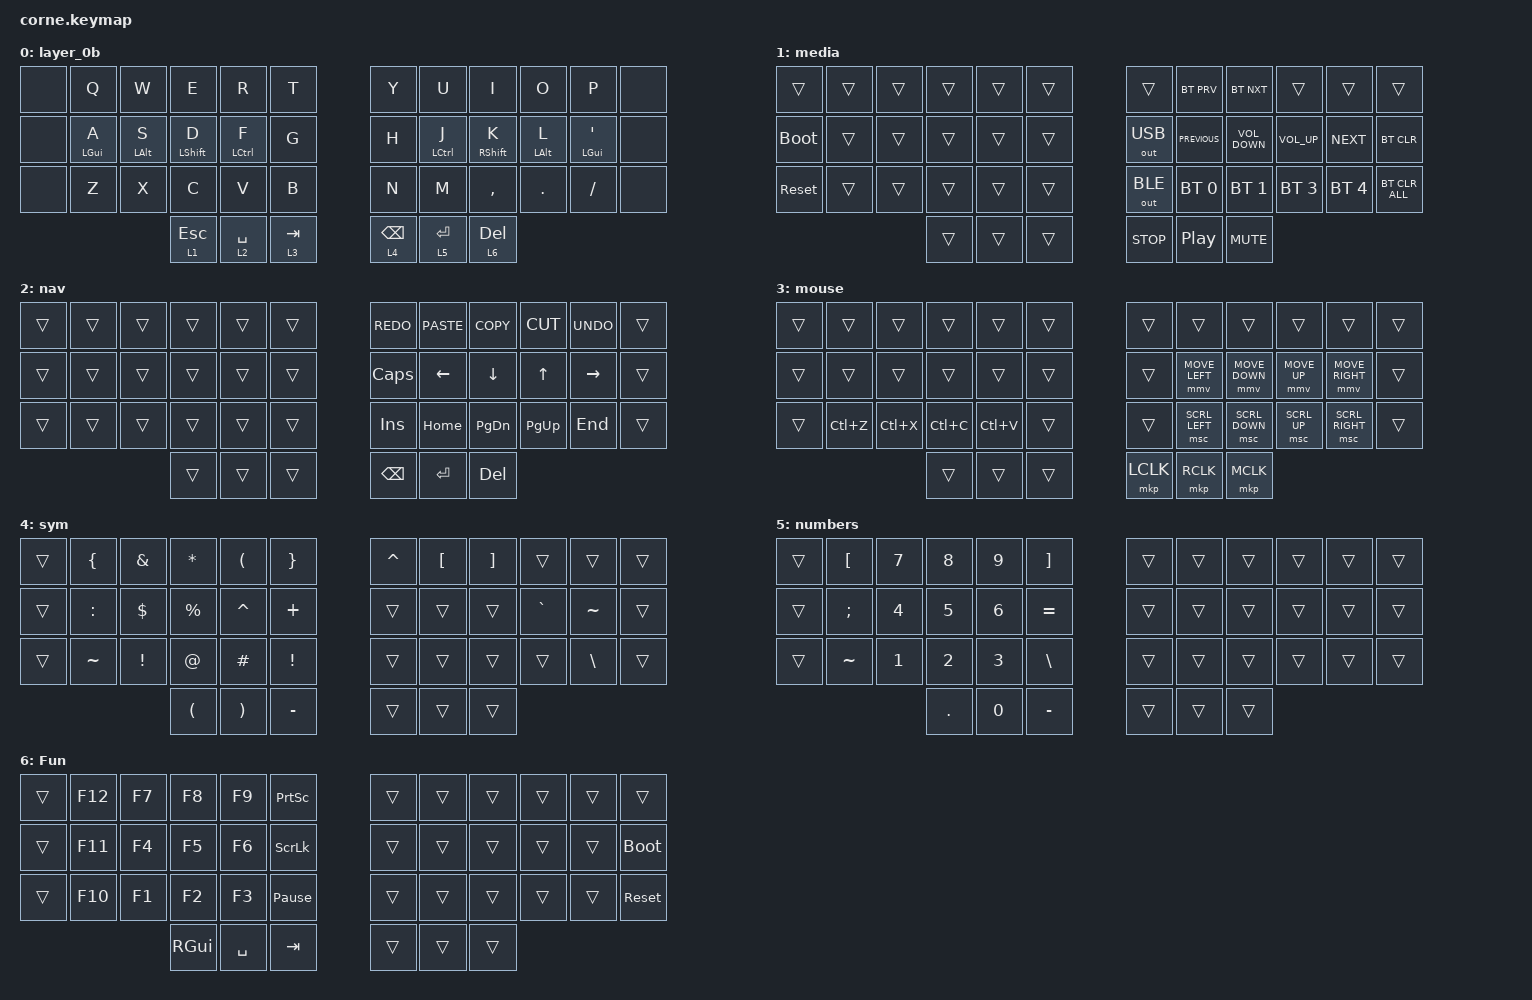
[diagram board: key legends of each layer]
/*
 * Copyright (c) 2020 The ZMK Contributors
 *
 * SPDX-License-Identifier: MIT
 */

#include <dt-bindings/zmk/mouse.h>
#include <behaviors.dtsi>
#include <dt-bindings/zmk/bt.h>
#include <dt-bindings/zmk/keys.h>
#include <dt-bindings/zmk/outputs.h>
#include <dt-bindings/zmk/pointing.h>

&lt {
    flavor = "balanced";
    tapping-term-ms = <200>;
    quick-tap-ms = <100>;
};

/ {
    behaviors {
        hml: hml {
            compatible = "zmk,behavior-hold-tap";
            label = "HML";
            bindings = <&kp>, <&kp>;

            #binding-cells = <2>;
            tapping-term-ms = <300>;
            hold-trigger-key-positions = <6 7 8 9 10 11 18 19 20 21 22 23 30 31 32 33 34 35 40 41 36 0 1 2 3 4 5 12 13 14 15 16 17 24 25 26 27 28 29 36 37 38 39>;
            quick-tap-ms = <175>;
            require-prior-idle-ms = <150>;
            flavor = "balanced";
            hold-trigger-on-release;
        };

        hmr: hmr {
            compatible = "zmk,behavior-hold-tap";
            label = "HMR";
            bindings = <&kp>, <&kp>;

            #binding-cells = <2>;
            tapping-term-ms = <300>;
            hold-trigger-key-positions = <0 1 2 3 4 5 12 13 14 15 16 17 24 25 26 27 28 29 36 37 41 38 39 40 6 7 8 9 10 11 18 19 20 21 22 23 30 31 32 33 34 35>;
            quick-tap-ms = <175>;
            require-prior-idle-ms = <150>;
            flavor = "balanced";
            hold-trigger-on-release;
        };

        hml_f: hml_f {
            compatible = "zmk,behavior-hold-tap";
            label = "HML_F";
            bindings = <&kp>, <&kp>;

            #binding-cells = <2>;
            tapping-term-ms = <200>;
            hold-trigger-key-positions = <6 7 8 9 10 11 18 19 20 21 22 23 30 31 32 33 34 35 40 41 36>;
            quick-tap-ms = <175>;
            require-prior-idle-ms = <150>;
            flavor = "balanced";
            hold-trigger-on-release;
        };

        hmr_f: hmr_f {
            compatible = "zmk,behavior-hold-tap";
            label = "HMR_F";
            bindings = <&kp>, <&kp>;

            #binding-cells = <2>;
            tapping-term-ms = <200>;
            hold-trigger-key-positions = <0 1 2 3 4 5 12 13 14 15 16 17 24 25 26 27 28 29 36 37 41 38 39 40 6 7 8 9 10 11 18 19 20 21 22 23 30 31 32 33 34 35 40 41>;
            quick-tap-ms = <175>;
            require-prior-idle-ms = <150>;
            flavor = "balanced";
            hold-trigger-on-release;
        };

        sym: sym {
            compatible = "zmk,behavior-hold-tap";
            label = "SYM";
            bindings = <&mo>, <&kp>;

            #binding-cells = <2>;
            tapping-term-ms = <150>;
        };
    };

    macros {
        right_desktop: right_desktop {
            compatible = "zmk,behavior-macro";
            #binding-cells = <0>;
            bindings = <&kp LC(LG(RIGHT))>;
            label = "RIGHT_DESKTOP";
        };

        left_desktop: left_desktop {
            compatible = "zmk,behavior-macro";
            #binding-cells = <0>;
            bindings = <&kp LG(LC(LEFT_ARROW))>;
            label = "LEFT_DESKTOP";
        };
    };

    combos {
        compatible = "zmk,combos";

        capslock {
            bindings = <&kp CAPSLOCK>;
            key-positions = <17 18>;
        };

        end {
            bindings = <&kp END>;
            key-positions = <30 31>;
        };

        del {
            bindings = <&kp DELETE>;
            key-positions = <18 19>;
        };

        game {
            bindings = <&tog 0>;
            key-positions = <11 22 35>;
        };

        semicollon {
            bindings = <&kp SEMI>;
            key-positions = <20 13>;
            layers = <4>;
        };

        home {
            bindings = <&kp HOME>;
            key-positions = <6 7>;
        };
    };

    keymap {
        compatible = "zmk,keymap";

        layer_0b {
            bindings = <
&none  &kp Q            &kp W            &kp E                &kp R                &kp T        &kp Y             &kp U                &kp I            &kp O            &kp P                       &none
&none  &hml LEFT_GUI A  &hml LEFT_ALT S  &hml_f LEFT_SHIFT D  &hml LEFT_CONTROL F  &kp G        &kp H             &hmr LEFT_CONTROL J  &hmr_f RSHIFT K  &hmr LEFT_ALT L  &hmr LEFT_GUI SINGLE_QUOTE  &none
&none  &kp Z            &kp X            &kp C                &kp V                &kp B        &kp N             &kp M                &kp COMMA        &kp DOT          &kp SLASH                   &none
                                         &lt 1 ESCAPE         &lt 2 SPACE          &lt 3 TAB    &sym 4 BACKSPACE  &lt 5 ENTER          &lt 6 DELETE
            >;
        };

        media {
            bindings = <
&trans       &trans  &trans  &trans  &trans  &trans    &trans        &bt BT_PRV        &bt BT_NXT         &trans           &trans        &trans
&bootloader  &trans  &trans  &trans  &trans  &trans    &out OUT_USB  &kp C_PREVIOUS    &kp C_VOLUME_DOWN  &kp C_VOLUME_UP  &kp C_NEXT    &bt BT_CLR
&sys_reset   &trans  &trans  &trans  &trans  &trans    &out OUT_BLE  &bt BT_SEL 0      &bt BT_SEL 1       &bt BT_SEL 3     &bt BT_SEL 4  &bt BT_CLR_ALL
                             &trans  &trans  &trans    &kp C_STOP    &kp C_PLAY_PAUSE  &kp K_MUTE
            >;
        };

        nav {
            bindings = <
&trans  &trans  &trans  &trans  &trans  &trans    &kp K_REDO     &kp K_PASTE  &kp K_COPY     &kp K_CUT    &kp K_UNDO  &trans
&trans  &trans  &trans  &trans  &trans  &trans    &kp CAPS       &kp LEFT     &kp DOWN       &kp UP       &kp RIGHT   &trans
&trans  &trans  &trans  &trans  &trans  &trans    &kp INSERT     &kp HOME     &kp PAGE_DOWN  &kp PAGE_UP  &kp END     &trans
                        &trans  &trans  &trans    &kp BACKSPACE  &kp ENTER    &kp DEL
            >;
        };

        mouse {
            bindings = <
&trans  &trans     &trans     &trans     &trans     &trans    &trans     &trans          &trans          &trans        &trans           &trans
&trans  &trans     &trans     &trans     &trans     &trans    &trans     &mmv MOVE_LEFT  &mmv MOVE_DOWN  &mmv MOVE_UP  &mmv MOVE_RIGHT  &trans
&trans  &kp LC(Z)  &kp LC(X)  &kp LC(C)  &kp LC(V)  &trans    &trans     &msc SCRL_LEFT  &msc SCRL_DOWN  &msc SCRL_UP  &msc SCRL_RIGHT  &trans
                              &trans     &trans     &trans    &mkp LCLK  &mkp RCLK       &mkp MCLK
            >;
        };

        sym {
            bindings = <
&trans  &kp LEFT_BRACE  &kp AMPERSAND  &kp ASTRK             &kp LEFT_PARENTHESIS   &kp RIGHT_BRACE    &kp CARET  &kp LEFT_BRACKET  &kp RIGHT_BRACKET  &trans     &trans         &trans
&trans  &kp COLON       &kp DOLLAR     &kp PERCENT           &kp CARET              &kp PLUS           &trans     &trans            &trans             &kp GRAVE  &kp TILDE      &trans
&trans  &kp TILDE       &kp EXCL       &kp AT                &kp HASH               &kp EXCL           &trans     &trans            &trans             &trans     &kp BACKSLASH  &trans
                                       &kp LEFT_PARENTHESIS  &kp RIGHT_PARENTHESIS  &kp MINUS          &trans     &trans            &trans
            >;
        };

        numbers {
            bindings = <
&trans  &kp LBKT   &kp N7  &kp N8   &kp N9  &kp RBKT     &trans  &trans  &trans  &trans  &trans  &trans
&trans  &kp SEMI   &kp N4  &kp N5   &kp N6  &kp EQUAL    &trans  &trans  &trans  &trans  &trans  &trans
&trans  &kp TILDE  &kp N1  &kp N2   &kp N3  &kp BSLH     &trans  &trans  &trans  &trans  &trans  &trans
                           &kp DOT  &kp N0  &kp MINUS    &trans  &trans  &trans
            >;
        };

        Fun {
            bindings = <
&trans  &kp F12  &kp F7  &kp F8         &kp F9     &kp PRINTSCREEN    &trans  &trans  &trans  &trans  &trans  &trans
&trans  &kp F11  &kp F4  &kp F5         &kp F6     &kp SCROLLLOCK     &trans  &trans  &trans  &trans  &trans  &bootloader
&trans  &kp F10  &kp F1  &kp F2         &kp F3     &kp PAUSE_BREAK    &trans  &trans  &trans  &trans  &trans  &sys_reset
                         &kp RIGHT_GUI  &kp SPACE  &kp TAB            &trans  &trans  &trans
            >;
        };
    };

    conditional_layers { compatible = "zmk,conditional-layers"; };
};
